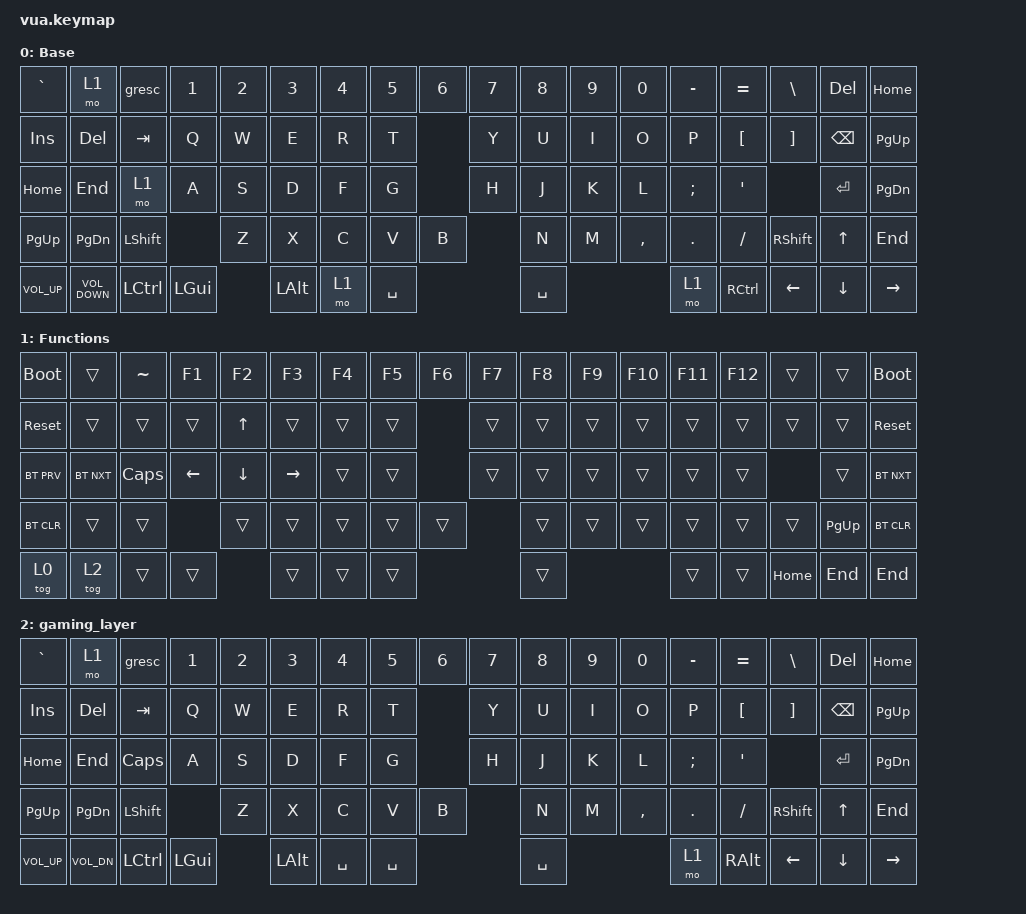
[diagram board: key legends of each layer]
/*
*
* Copyright (c) 2023 Deemen17
* SPDX-License-Identifier: MIT
*
*/

#include <behaviors.dtsi>
#include <dt-bindings/zmk/bt.h>
#include <dt-bindings/zmk/keys.h>

/ {
    behaviors {
        EscTilde: EscTilde {
            compatible = "zmk,behavior-mod-morph";
            label = "ESCTILDE";
            bindings = <&kp ESC>, <&kp TILDE>;

            #binding-cells = <0>;
            mods = <(MOD_LSFT|MOD_RSFT)>;
        };
    };

    keymap {
        compatible = "zmk,keymap";

        default_layer {
            label = "Base";
            bindings = <
&kp GRAVE     &mo 1              &gresc     &kp N1    &kp N2  &kp N3    &kp N4  &kp N5     &kp N6  &kp N7  &kp N8     &kp N9  &kp N0     &kp MINUS      &kp EQUAL  &kp BACKSLASH  &kp DELETE     &kp HOME
&kp INSERT    &kp DELETE         &kp TAB    &kp Q     &kp W   &kp E     &kp R   &kp T              &kp Y   &kp U      &kp I   &kp O      &kp P          &kp LBKT   &kp RBKT       &kp BACKSPACE  &kp PAGE_UP
&kp HOME      &kp END            &mo 1      &kp A     &kp S   &kp D     &kp F   &kp G              &kp H   &kp J      &kp K   &kp L      &kp SEMICOLON  &kp SQT                   &kp RET        &kp PAGE_DOWN
&kp PAGE_UP   &kp PAGE_DOWN      &kp LSHFT            &kp Z   &kp X     &kp C   &kp V      &kp B           &kp N      &kp M   &kp COMMA  &kp DOT        &kp SLASH  &kp RSHFT      &kp UP         &kp END
&kp C_VOL_UP  &kp C_VOLUME_DOWN  &kp LCTRL  &kp LGUI          &kp LALT  &mo 1   &kp SPACE                  &kp SPACE                     &mo 1          &kp RCTRL  &kp LEFT       &kp DOWN       &kp RIGHT
            >;
        };

        function_layer {
            label = "Functions";
            bindings = <
&bootloader  &trans      &kp TILDE  &kp F1    &kp F2    &kp F3     &kp F4  &kp F5  &kp F6  &kp F7  &kp F8  &kp F9  &kp F10  &kp F11  &kp F12  &trans    &trans       &bootloader
&sys_reset   &trans      &trans     &trans    &kp UP    &trans     &trans  &trans          &trans  &trans  &trans  &trans   &trans   &trans   &trans    &trans       &sys_reset
&bt BT_PRV   &bt BT_NXT  &kp CAPS   &kp LEFT  &kp DOWN  &kp RIGHT  &trans  &trans          &trans  &trans  &trans  &trans   &trans   &trans             &trans       &bt BT_NXT
&bt BT_CLR   &trans      &trans               &trans    &trans     &trans  &trans  &trans          &trans  &trans  &trans   &trans   &trans   &trans    &kp PAGE_UP  &bt BT_CLR
&tog 0       &tog 2      &trans     &trans              &trans     &trans  &trans                  &trans                   &trans   &trans   &kp HOME  &kp END      &kp END
            >;
        };

        gaming_layer {
            bindings = <
&kp GRAVE        &mo 1          &gresc     &kp N1        &kp N2  &kp N3        &kp N4     &kp N5     &kp N6  &kp N7  &kp N8     &kp N9  &kp N0     &kp MINUS  &kp EQUAL      &kp BSLH        &kp DELETE      &kp HOME
&kp INSERT       &kp DEL        &kp TAB    &kp Q         &kp W   &kp E         &kp R      &kp T              &kp Y   &kp U      &kp I   &kp O      &kp P      &kp LBKT       &kp RBKT        &kp BSPC        &kp PAGE_UP
&kp HOME         &kp END        &kp CAPS   &kp A         &kp S   &kp D         &kp F      &kp G              &kp H   &kp J      &kp K   &kp L      &kp SEMI   &kp APOS                       &kp ENTER       &kp PAGE_DOWN
&kp PAGE_UP      &kp PAGE_DOWN  &kp LSHFT                &kp Z   &kp X         &kp C      &kp V      &kp B           &kp N      &kp M   &kp COMMA  &kp DOT    &kp FSLH       &kp RSHFT       &kp UP_ARROW    &kp END
&kp C_VOLUME_UP  &kp C_VOL_DN   &kp LCTRL  &kp LEFT_GUI          &kp LEFT_ALT  &kp SPACE  &kp SPACE                  &kp SPACE                     &mo 1      &kp RIGHT_ALT  &kp LEFT_ARROW  &kp DOWN_ARROW  &kp RIGHT
            >;
        };
    };
};
